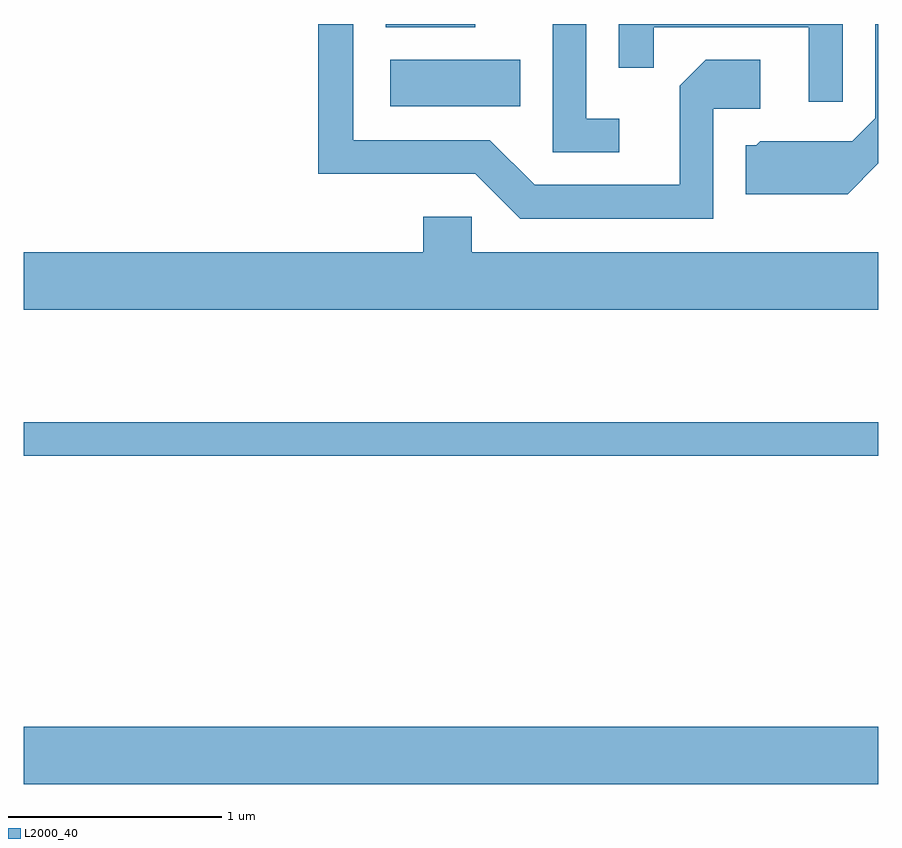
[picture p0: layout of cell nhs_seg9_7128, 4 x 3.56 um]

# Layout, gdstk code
import gdstk
lib = gdstk.Library(unit=1e-6, precision=1e-09)
def R(c, l, rs):  # rectangles x0, y0, x1, y1
    for r in rs: c.add(gdstk.rectangle(r[:2], r[2:], *l))
def P(c, l, *ps):  # polygons
    for p in ps: c.add(gdstk.Polygon(p, *l))
L2000_40 = (2000, 40)

nhs_seg9_7128 = lib.new_cell('nhs_seg9_7128')
R(nhs_seg9_7128, L2000_40, [(395.611,2042.876,399.611,2043.144), (395.611,2044.411,399.611,2044.569), (397.326,2046.046,397.934,2046.264), (397.306,2046.416,397.724,2046.432)])
P(nhs_seg9_7128, L2000_40, [(399.444,2046.432),(398.396,2046.432),(398.396,2046.228),(398.559,2046.228),(398.559,2046.416),(399.286,2046.416),(399.286,2046.068),(399.444,2046.068)],
  [(399.611,2045.781),(399.611,2046.432),(399.596,2046.432),(399.596,2045.992),(399.489,2045.884),(399.059,2045.884),(399.039,2045.864),(398.991,2045.864),(398.991,2045.636),(399.467,2045.636)],
  [(398.839,2046.036),(399.059,2046.036),(399.059,2046.264),(398.804,2046.264),(398.681,2046.142),(398.681,2045.679),(398.002,2045.679),(397.792,2045.889),(397.154,2045.889),(397.154,2046.432),(396.991,2046.432),(396.991,2045.731),(397.724,2045.731),(397.934,2045.521),(398.839,2045.521)],
  [(398.398,2045.989),(398.244,2045.989),(398.244,2046.432),(398.086,2046.432),(398.086,2045.831),(398.398,2045.831)],
  [(399.611,2045.364),(397.709,2045.364),(397.709,2045.529),(397.481,2045.529),(397.481,2045.364),(395.611,2045.364),(395.611,2045.096),(399.611,2045.096)])

lib.write_gds('nhs_seg9_7128.gds')
